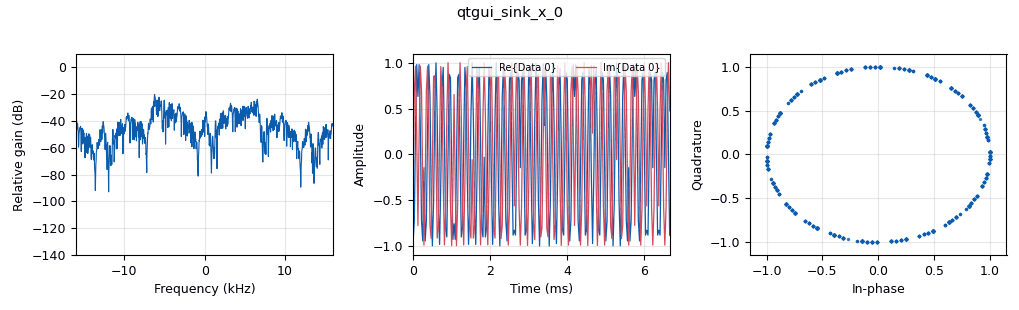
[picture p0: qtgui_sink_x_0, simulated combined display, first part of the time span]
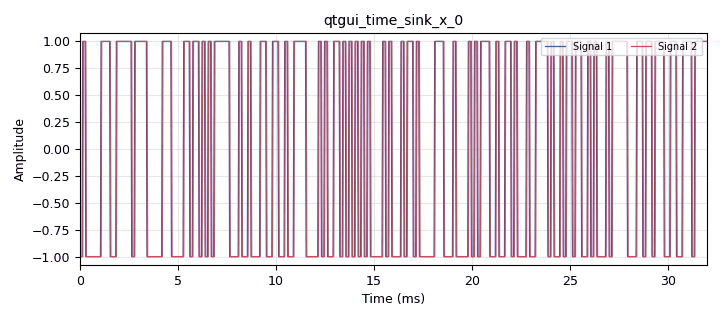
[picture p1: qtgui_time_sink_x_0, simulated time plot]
options:
  parameters:
    author: Ronakraj Gosalia
    generate_options: qt_gui
    id: transmitter_vco
    output_language: python
    title: CommDio Transmitter using VCO
  states: {}

blocks:
- name: bits_per_symbol
  id: variable
  parameters:
    value: '1'
  states: {}
- name: fs_bw_const
  id: variable
  parameters:
    value: '5.76'
  states: {}
- name: outer_deviation
  id: variable
  parameters:
    value: '5555.56'
  states: {}
- name: samp_rate
  id: variable
  parameters:
    value: '32000'
  states: {}
- name: sps
  id: variable
  parameters:
    value: '5'
  states: {}
- name: analog_const_source_x_0
  id: analog_const_source_x
  parameters:
    const: '0.5'
    type: float
  states: {}
- name: analog_quadrature_demod_cf_0
  id: analog_quadrature_demod_cf
  parameters:
    gain: '0.916732'
  states: {}
- name: analog_random_uniform_source_x_0
  id: analog_random_uniform_source_x
  parameters:
    maximum: '2'
    minimum: '0'
    seed: '0'
    type: byte
  states: {}
- name: blocks_multiply_const_vxx_0
  id: blocks_multiply_const_vxx
  parameters:
    const: '2'
    type: float
  states: {}
- name: blocks_repeat_0
  id: blocks_repeat
  parameters:
    interp: '5'
    type: float
  states: {}
- name: blocks_sub_xx_0
  id: blocks_sub_xx
  parameters:
    type: float
  states: {}
- name: blocks_throttle2_0
  id: blocks_throttle2
  parameters:
    samples_per_second: samp_rate
    type: byte
  states: {}
- name: blocks_uchar_to_float_0
  id: blocks_uchar_to_float
  parameters: {}
  states: {}
- name: blocks_vco_c_0
  id: blocks_vco_c
  parameters:
    amplitude: '1'
    samp_rate: samp_rate
    sensitivity: '34905.6'
  states: {}
- name: import_0
  id: import
  parameters:
    imports: import numpy as np
  states: {}
- name: qtgui_sink_x_0
  id: qtgui_sink_x
  parameters:
    bw: samp_rate
    fc: '0'
    fftsize: '1024'
    type: complex
  states: {}
- name: qtgui_time_sink_x_0
  id: qtgui_time_sink_x
  parameters:
    nconnections: '2'
    size: '1024'
    srate: samp_rate
    type: float
  states: {}

connections:
- [analog_const_source_x_0, '0', blocks_sub_xx_0, '1']
- [analog_quadrature_demod_cf_0, '0', qtgui_time_sink_x_0, '1']
- [analog_random_uniform_source_x_0, '0', blocks_throttle2_0, '0']
- [blocks_multiply_const_vxx_0, '0', blocks_vco_c_0, '0']
- [blocks_multiply_const_vxx_0, '0', qtgui_time_sink_x_0, '0']
- [blocks_repeat_0, '0', blocks_multiply_const_vxx_0, '0']
- [blocks_sub_xx_0, '0', blocks_repeat_0, '0']
- [blocks_throttle2_0, '0', blocks_uchar_to_float_0, '0']
- [blocks_uchar_to_float_0, '0', blocks_sub_xx_0, '0']
- [blocks_vco_c_0, '0', analog_quadrature_demod_cf_0, '0']
- [blocks_vco_c_0, '0', qtgui_sink_x_0, '0']

metadata:
  file_format: 1
  grc_version: 3.10.12.0
